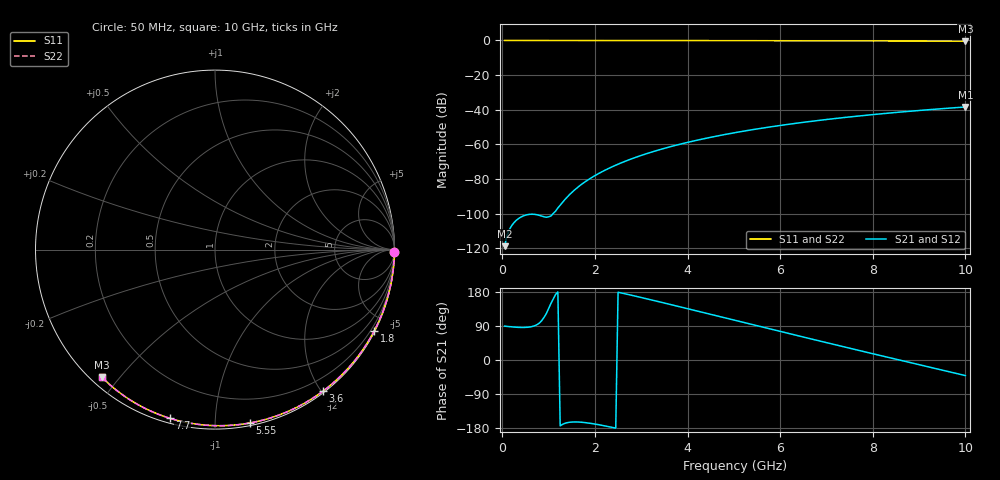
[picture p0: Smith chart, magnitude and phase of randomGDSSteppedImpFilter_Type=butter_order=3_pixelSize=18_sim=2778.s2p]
! freq	dB(S11)	phase(S11)	dB(S12)	phase(S12)
!  dB(S21)	phase(S21)	dB(S22)	phase(S22)
!S-par simulation data
#  GHz  S  DB  R 50
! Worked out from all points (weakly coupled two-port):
!   200 points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, 50 MHz to 10 GHz, reference 50 ohm
!   highest |S21| = -38.40 dB at 10 GHz (marker M1); lowest = -118.7 dB at 50 MHz (marker M2)
!   lowest |S11| = -0.4 dB at 10 GHz (marker M3), VSWR 38.96, Z = 1.54 - j22.5 ohm
!   |S11| at or under -10 dB: nowhere
!   |S22| runs from -0.4 to 0.0 dB; largest |S21 - S12| = 0
!   S11 on the Smith chart (normalised r, x): 50 MHz: open; 1.8 GHz: 0.04, -4.17; 3.6 GHz: 0.02, -2.02; 5.55 GHz: 0.02, -1.22; 7.7 GHz: 0.02, -0.77; 10 GHz: 0.03, -0.45
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0.05  -0.00 -0.8  -118.74 89.3  -118.74 89.3  -0.00 -0.8
0.9  -0.02 -13.6  -101.78 112.4  -101.78 112.4  -0.02 -13.6
1.75  -0.03 -26.2  -82.31 -164.7  -82.31 -164.7  -0.03 -26.3
1.8  -0.03 -26.9  -81.37 -165.4  -81.37 -165.4  -0.03 -27.0
1.85  -0.04 -27.7  -80.48 -166.2  -80.48 -166.2  -0.04 -27.7
1.9  -0.04 -28.4  -79.63 -167.1  -79.63 -167.1  -0.04 -28.5
2.05  -0.04 -30.6  -77.25 -170.1  -77.25 -170.1  -0.04 -30.7
2.25  -0.04 -33.5  -74.45 -174.7  -74.45 -174.7  -0.04 -33.6
2.45  -0.05 -36.4  -71.98 -179.8  -71.98 -179.8  -0.05 -36.5
2.65  -0.05 -39.3  -69.76 174.8  -69.76 174.8  -0.05 -39.3
3  -0.06 -44.3  -66.35 164.9  -66.35 164.9  -0.06 -44.3
3.4  -0.07 -49.9  -63.02 153.3  -63.02 153.3  -0.07 -50.0
3.6  -0.07 -52.7  -61.53 147.4  -61.53 147.4  -0.07 -52.8
4.3  -0.09 -62.3  -57.02 126.5  -57.02 126.5  -0.09 -62.4
5.05  -0.11 -72.2  -53.10 103.9  -53.10 103.9  -0.11 -72.3
5.55  -0.13 -78.7  -50.86 88.9  -50.86 88.9  -0.13 -78.8
6.1  -0.15 -85.7  -48.68 72.5  -48.68 72.5  -0.15 -85.8
6.7  -0.18 -93.1  -46.58 54.7  -46.58 54.7  -0.18 -93.2
7.7  -0.24 -105.1  -43.59 25.3  -43.59 25.3  -0.24 -105.3
8.35  -0.29 -112.7  -41.91 6.4  -41.91 6.4  -0.29 -112.9
9.15  -0.36 -121.9  -40.09 -16.7  -40.09 -16.7  -0.36 -122.0
10  -0.45 -131.5  -38.40 -41.1  -38.40 -41.1  -0.45 -131.7
